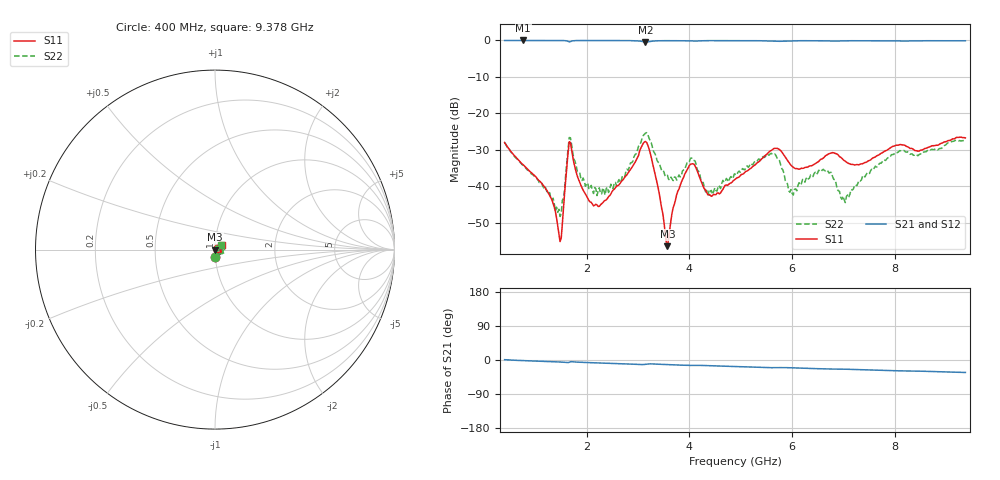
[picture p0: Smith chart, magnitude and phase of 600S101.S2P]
!  American Technical Ceramics  Date:  11/6/2006
!  One Norden Lane
!  Huntington Station,  NY.  11746-2102
!  Tel:  (631) 622-4700  Fax:  (631) 622-4748
!  Part Number  600S101FT  Mounting Orientation: Horizontal
!  Description: Ultra Low ESR Microwave capacitors
!  Application: Coupling, Bypass, Tuning, DC Block
!  Filters, Matching
# GHZ S DB R 50
! Freq  |S11|  S11 Ph  |S21|  S21 Ph  |S12|  S12 Ph  |S22|  S22 Ph
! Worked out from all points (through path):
!   400 points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, 400 MHz to 9.378 GHz, reference 50 ohm
!   highest |S21| = -0.01 dB at 760 MHz (marker M1); lowest = -0.4 dB at 3.145 GHz (marker M2)
!   group delay of S21, straight-line fit = 9.92 ps
!   lowest |S11| = -56.4 dB at 3.573 GHz (marker M3), VSWR 1.00, Z = 50.2 + j0.022 ohm
!   |S11| at or under -10 dB: start of sweep to end of sweep
!   |S22| runs from -48.2 to -25.3 dB; largest |S21 - S12| = 0.0054
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0.4  -27.98 -87.2  -0.02 0.8  0.00 0.8  -27.94 -87.0
0.76  -34.04 -89.3  -0.01 -1.6  -0.01 -1.6  -34.36 -88.5
1.323  -43.67 -109.5  -0.01 -4.4  -0.01 -4.5  -43.69 -72.4
1.48  -55.12 179.7  -0.02 -5.3  0.00 -5.3  -48.24 -32.0
1.66  -27.74 -2.4  -0.41 -6.0  -0.39 -6.0  -26.61 -9.2
1.908  -40.39 -116.0  -0.03 -6.2  -0.01 -6.3  -38.39 -67.5
2.133  -45.32 -160.0  -0.02 -7.3  -0.01 -7.4  -41.95 -45.2
2.425  -42.82 136.8  -0.03 -8.6  -0.01 -8.7  -41.67 -15.2
3.145  -27.69 5.3  -0.41 -11.4  -0.39 -11.5  -25.40 -1.3
3.393  -40.46 -64.5  -0.10 -11.1  -0.08 -11.2  -33.40 -39.3
3.573  -56.38 8.3  -0.06 -12.2  -0.05 -12.3  -36.97 -22.6
3.753  -42.22 62.9  -0.07 -13.1  -0.05 -13.2  -38.28 4.8
4.023  -33.93 23.9  -0.17 -14.2  -0.16 -14.3  -32.27 10.7
4.383  -42.27 0.2  -0.06 -15.0  -0.05 -15.1  -42.44 14.0
4.9  -37.97 35.0  -0.05 -17.3  -0.04 -17.4  -36.72 57.8
5.665  -29.56 8.8  -0.22 -20.2  -0.22 -20.4  -31.12 31.5
6.025  -34.75 -10.1  -0.11 -20.7  -0.10 -20.9  -42.39 54.4
6.408  -34.16 15.0  -0.08 -22.5  -0.08 -22.7  -37.31 73.9
6.768  -30.85 10.3  -0.16 -23.8  -0.16 -24.0  -36.20 40.3
7.038  -33.09 0.0  -0.12 -24.3  -0.12 -24.5  -44.44 67.4
7.893  -29.65 36.1  -0.10 -27.9  -0.11 -28.2  -32.16 42.0
9.378  -26.72 32.9  -0.10 -32.9  -0.12 -33.1  -27.51 36.2
